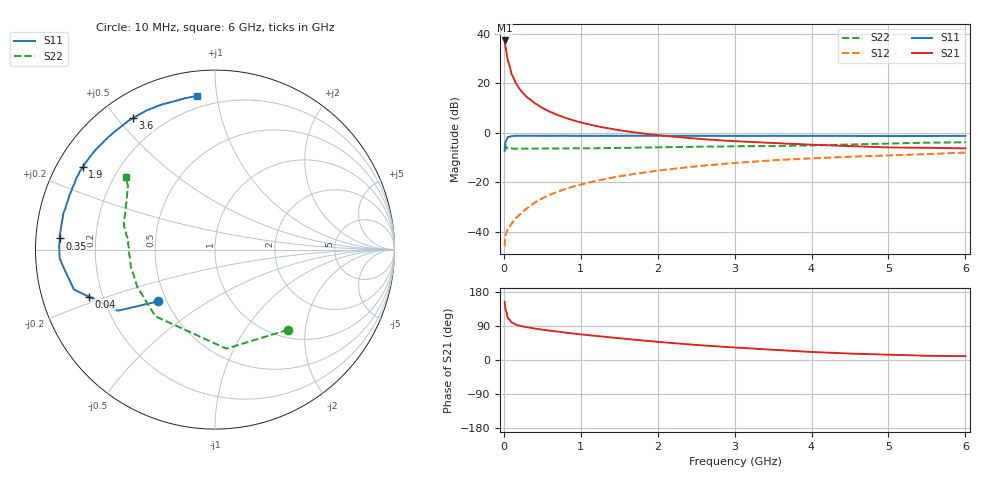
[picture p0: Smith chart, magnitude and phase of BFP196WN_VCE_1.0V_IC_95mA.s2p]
! Infineon Technologies  Discrete & RF Semiconductors
! BFP196WN
! VCE =  1.0 V,  IC =  95 mA
! Common Emitter S-Parameters:  Jan 2017
# GHz  S  MA  R  50
!  f  S11  S21  S12  S22
! GHz  MAG  ANG  MAG  ANG  MAG  ANG  MAG  ANG
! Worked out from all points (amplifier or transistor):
!   77 points, 10 MHz to 6 GHz, reference 50 ohm
!   highest |S21| = 37.3 dB at 10 MHz (marker M1)
!   |S21| within 3 dB of that: start of sweep to 24.4 MHz
!   unconditionally stable (mu >= 1): 248.1 MHz to end of sweep
!   at 130 MHz: K = 0.82, MSG = 28.7 dB, |S12| = -35.5 dB
!   at 2.2 GHz: K = 1.07, MAG = 4.9 dB, |S12| = -14.6 dB
!   at 6 GHz: K = 1.01, MAG = 0.2 dB, |S12| = -8.0 dB
!   S11 on the Smith chart (normalised r, x): 10 MHz: 0.45, -0.32; 40 MHz: 0.15, -0.18; 350 MHz: 0.07, +0.04; 1.9 GHz: 0.08, +0.28; 3.6 GHz: 0.10, +0.55; 6 GHz: 0.13, +0.88
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0.01  0.4303 -137.8  73.06 153.3  0.0051 62.4  0.6035 -47.8
0.02  0.6389 -147.8  56.17 134.1  0.0082 55.3  0.5554 -83.5
0.04  0.7514 -159.6  37.47 121.9  0.0102 44.6  0.4758 -114.9
0.05  0.817 -164.2  29.34 110.3  0.0113 40.8  0.4982 -131.8
0.1  0.8503 -173.4  15.38 98.9  0.0144 48.3  0.4806 -154.4
0.15  0.8669 -176.9  10.42 94.0  0.0185 55.7  0.475 -163.4
0.2  0.8667 -179.5  7.838 90.8  0.0215 60.0  0.4787 -167.8
0.25  0.868 178.8  6.283 88.3  0.0258 63.5  0.4772 -170.5
0.3  0.8674 177.2  5.243 86.5  0.0296 66.1  0.4763 -172.9
0.35  0.8676 175.9  4.596 85.0  0.034 67.9  0.4764 -174.2
0.4  0.8682 174.7  3.954 82.9  0.0384 69.2  0.4768 -175.5
0.5  0.8666 172.4  3.166 80.0  0.0472 69.9  0.4797 -177.6
0.6  0.8665 170.3  2.653 77.3  0.056 70.8  0.4817 -179.3
0.8  0.8687 166.5  1.999 72.3  0.073 71.6  0.4808 178.4
1.1  0.864 161.2  1.478 65.6  0.0981 69.8  0.4854 175.4
1.9  0.8682 148.1  0.929 50.0  0.1629 63.5  0.5033 169.5
2.1  0.8678 145.0  0.863 46.3  0.1786 61.5  0.5097 168.5
3.1  0.862 129.6  0.663 31.9  0.2501 51.5  0.5333 162.2
3.6  0.8635 122.1  0.61 25.8  0.2818 46.6  0.5402 157.8
4.1  0.8626 115.0  0.565 20.4  0.3082 41.7  0.5575 152.5
5.1  0.8573 104.4  0.502 13.4  0.3515 33.6  0.6076 143.2
6  0.8625 96.6  0.482 10.1  0.3963 27.4  0.6402 141.0
